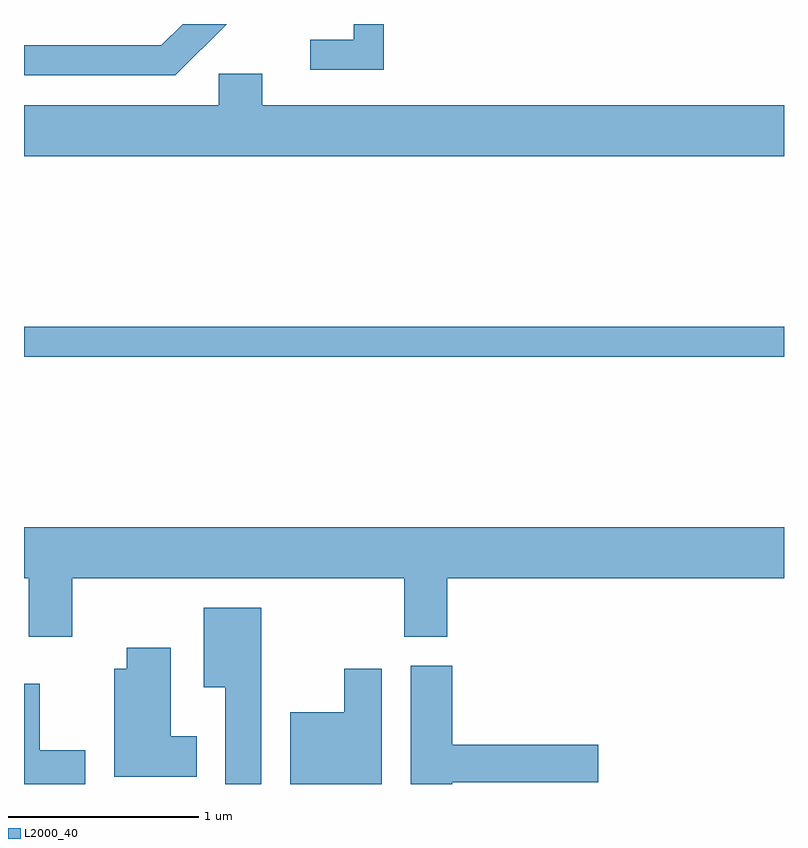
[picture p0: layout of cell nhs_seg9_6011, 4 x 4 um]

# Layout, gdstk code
import gdstk
lib = gdstk.Library(unit=1e-6, precision=1e-09)
def R(c, l, rs):  # rectangles x0, y0, x1, y1
    for r in rs: c.add(gdstk.rectangle(r[:2], r[2:], *l))
def P(c, l, *ps):  # polygons
    for p in ps: c.add(gdstk.Polygon(p, *l))
L2000_40 = (2000, 40)

nhs_seg9_6011 = lib.new_cell('nhs_seg9_6011')
R(nhs_seg9_6011, L2000_40, [(361.611,2070.681,365.611,2070.839)])
P(nhs_seg9_6011, L2000_40, [(362.678,2072.432),(362.446,2072.432),(362.334,2072.319),(361.611,2072.319),(361.611,2072.161),(362.407,2072.161)],
  [(363.504,2072.432),(363.346,2072.432),(363.346,2072.349),(363.118,2072.349),(363.118,2072.191),(363.504,2072.191)],
  [(362.636,2072.169),(362.636,2072.004),(361.611,2072.004),(361.611,2071.736),(365.611,2071.736),(365.611,2072.004),(362.864,2072.004),(362.864,2072.169)],
  [(361.864,2069.516),(363.611,2069.516),(363.611,2069.206),(363.839,2069.206),(363.839,2069.516),(365.611,2069.516),(365.611,2069.784),(361.611,2069.784),(361.611,2069.516),(361.636,2069.516),(361.636,2069.206),(361.864,2069.206)],
  [(362.859,2069.359),(362.556,2069.359),(362.556,2068.941),(362.671,2068.941),(362.671,2068.432),(362.859,2068.432)],
  [(362.519,2068.684),(362.384,2068.684),(362.384,2069.149),(362.151,2069.149),(362.151,2069.039),(362.086,2069.039),(362.086,2068.471),(362.519,2068.471)],
  [(363.864,2068.441),(364.634,2068.441),(364.634,2068.639),(363.864,2068.639),(363.864,2069.054),(363.646,2069.054),(363.646,2068.432),(363.864,2068.432)],
  [(363.494,2069.039),(363.296,2069.039),(363.296,2068.809),(363.011,2068.809),(363.011,2068.432),(363.494,2068.432)],
  [(361.934,2068.609),(361.694,2068.609),(361.694,2068.959),(361.611,2068.959),(361.611,2068.432),(361.934,2068.432)])

lib.write_gds('nhs_seg9_6011.gds')
